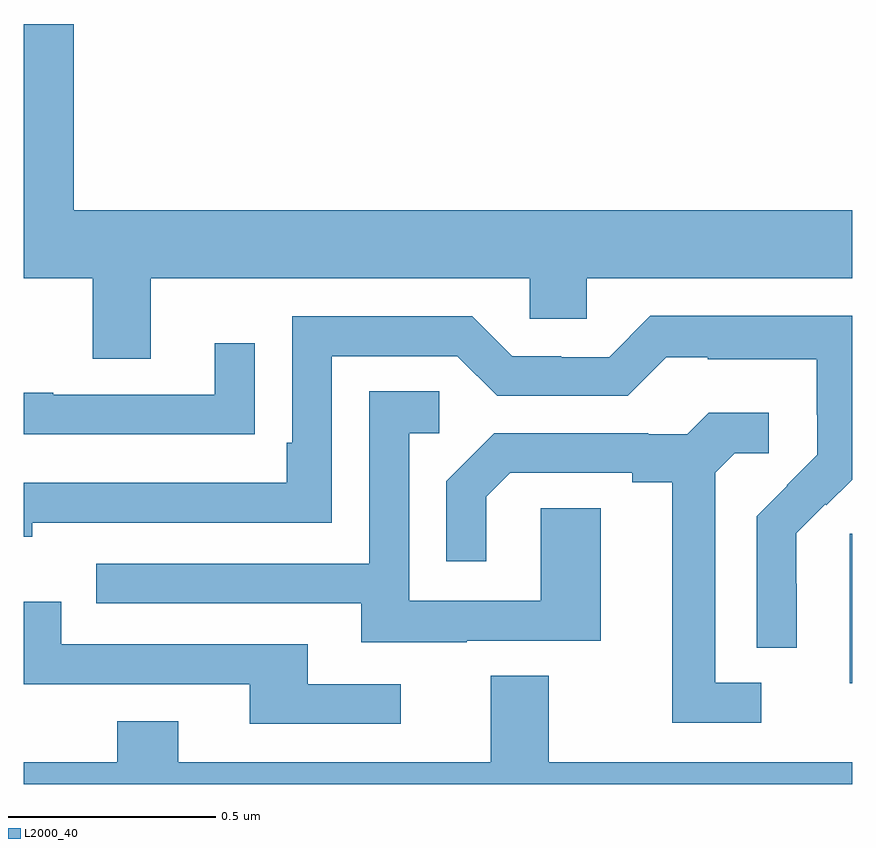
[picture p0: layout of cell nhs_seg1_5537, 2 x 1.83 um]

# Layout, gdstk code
import gdstk
lib = gdstk.Library(unit=1e-6, precision=1e-09)
def R(c, l, rs):  # rectangles x0, y0, x1, y1
    for r in rs: c.add(gdstk.rectangle(r[:2], r[2:], *l))
def P(c, l, *ps):  # polygons
    for p in ps: c.add(gdstk.Polygon(p, *l))
L2000_40 = (2000, 40)

nhs_seg1_5537 = lib.new_cell('nhs_seg1_5537')
R(nhs_seg1_5537, L2000_40, [(181.994,529.442,182,529.803)])
P(nhs_seg1_5537, L2000_40, [(180.307,530.42),(181.221,530.42),(181.221,530.322),(181.359,530.322),(181.359,530.42),(182,530.42),(182,530.584),(180.121,530.584),(180.121,531.034),(180,531.034),(180,530.42),(180.167,530.42),(180.167,530.226),(180.307,530.226)],
  [(181.866,529.682),(181.865,529.682),(181.865,529.805),(181.935,529.875),(181.938,529.872),(182,529.934),(182,530.329),(181.513,530.329),(181.413,530.229),(181.298,530.229),(181.298,530.232),(181.179,530.232),(181.083,530.328),(180.648,530.328),(180.648,530.023),(180.635,530.023),(180.635,529.926),(180,529.926),(180,529.796),(180.02,529.796),(180.02,529.83),(180.744,529.83),(180.744,530.232),(181.047,530.232),(181.143,530.136),(181.458,530.136),(181.551,530.229),(181.651,530.229),(181.651,530.225),(181.914,530.225),(181.914,530.091),(181.916,530.091),(181.916,529.994),(181.842,529.92),(181.843,529.919),(181.77,529.846),(181.77,529.528),(181.866,529.528)],
  [(180.455,530.044),(180.557,530.044),(180.557,530.263),(180.461,530.263),(180.461,530.139),(180.071,530.139),(180.071,530.144),(180,530.144),(180,530.043),(180.455,530.043)],
  [(181.069,529.545),(181.393,529.545),(181.393,529.865),(181.248,529.865),(181.248,529.641),(180.93,529.641),(180.93,530.046),(181.003,530.046),(181.003,530.147),(180.834,530.147),(180.834,529.731),(180.175,529.731),(180.175,529.635),(180.815,529.635),(180.815,529.541),(181.069,529.541)],
  [(181.78,529.443),(181.669,529.443),(181.669,529.951),(181.716,529.998),(181.798,529.998),(181.798,530.095),(181.654,530.095),(181.602,530.043),(181.508,530.043),(181.508,530.046),(181.136,530.046),(181.02,529.93),(181.02,529.737),(181.117,529.737),(181.117,529.893),(181.174,529.95),(181.469,529.95),(181.469,529.928),(181.565,529.928),(181.565,529.347),(181.78,529.347)],
  [(180.91,529.44),(180.685,529.44),(180.685,529.536),(180.09,529.536),(180.09,529.639),(180,529.639),(180,529.44),(180.545,529.44),(180.545,529.344),(180.91,529.344)],
  [(182,529.252),(181.267,529.252),(181.267,529.46),(181.127,529.46),(181.127,529.252),(180.373,529.252),(180.373,529.351),(180.226,529.351),(180.226,529.252),(180,529.252),(180,529.199),(182,529.199)])

lib.write_gds('nhs_seg1_5537.gds')
